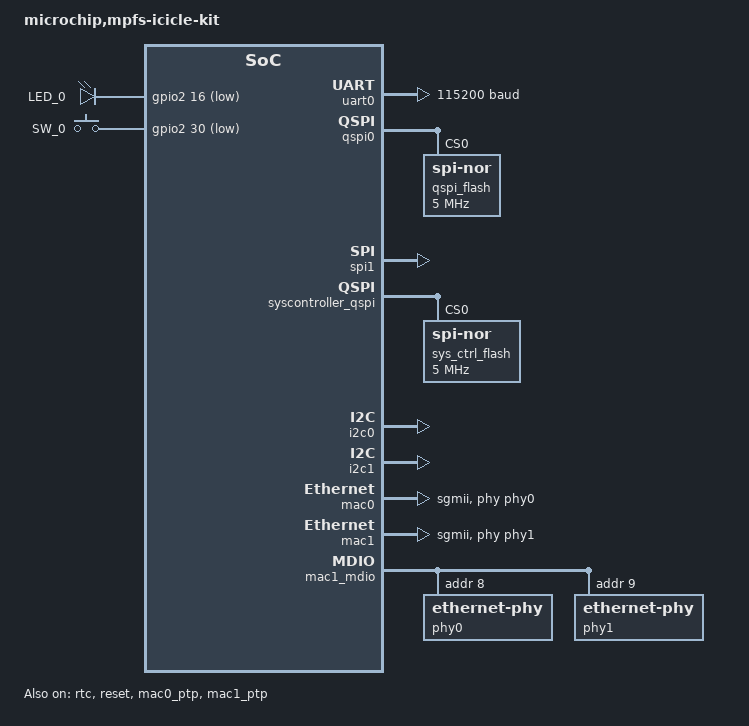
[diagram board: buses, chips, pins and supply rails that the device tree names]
/*
 * Copyright (c) 2020-2021 Microchip Technology Inc
 *
 * SPDX-License-Identifier: Apache-2.0
 */

/dts-v1/;
#include <microchip/mpfs.dtsi>
#include <zephyr/dt-bindings/input/input-event-codes.h>
#include <mem.h>

/ {
	compatible = "microchip,mpfs-icicle-kit", "microchip,mpfs";
	model = "microchip,mpfs-icicle-kit";

	aliases {
		led0 = &led0;
		sw0 = &sw0;
		i2c0 = &i2c0;
		i2c1 = &i2c1;
	};

	leds {
		compatible = "gpio-leds";

		led0: led0 {
			gpios = <&gpio2 16 GPIO_ACTIVE_LOW>;
			label = "LED_0";
		};
	};

	keys {
		compatible = "gpio-keys";

		sw0: sw0 {
			gpios = <&gpio2 30 GPIO_ACTIVE_LOW>;
			label = "SW_0";
			zephyr,code = <INPUT_KEY_0>;
		};
	};
};

&uart0 {
	current-speed = <115200>;
	clock-frequency = <150000000>;
	status = "okay";
};

&qspi0 {
	status = "okay";

	qspi_flash: spi-nor-flash@0 {
		compatible = "jedec,spi-nor";
		reg = <0>;
		spi-max-frequency = <5000000>;
		size = <DT_SIZE_M(256)>;
		jedec-id = [20 ba 19];
	};
};

&spi1 {
	status = "okay";
};

&syscontroller_qspi {
	status = "okay";

	sys_ctrl_flash: spi-nor-flash@0 {
		compatible = "jedec,spi-nor";
		reg = <0>;
		spi-max-frequency = <5000000>;
	};
};

&gpio2 {
	status = "okay";
};

&i2c0 {
	status = "okay";
};

&i2c1 {
	status = "okay";
};

&rtc {
	status = "okay";
};

&reset {
	status = "okay";
};

&mac0 {
	phy-handle = <&phy0>;
	phy-connection-type = "sgmii";
	zephyr,random-mac-address;
	status = "okay";
};

&mac1 {
	phy-handle = <&phy1>;
	phy-connection-type = "sgmii";
	zephyr,random-mac-address;
	status = "okay";
};

&mac0_ptp {
	status = "okay";
};

&mac1_ptp {
	status = "okay";
};

/* Both PHYs are managed through the MDIO bus of the second GEM */
&mac1_mdio {
	status = "okay";

	phy0: ethernet-phy@8 {
		compatible = "ethernet-phy";
		reg = <8>;
	};

	phy1: ethernet-phy@9 {
		compatible = "ethernet-phy";
		reg = <9>;
	};
};
